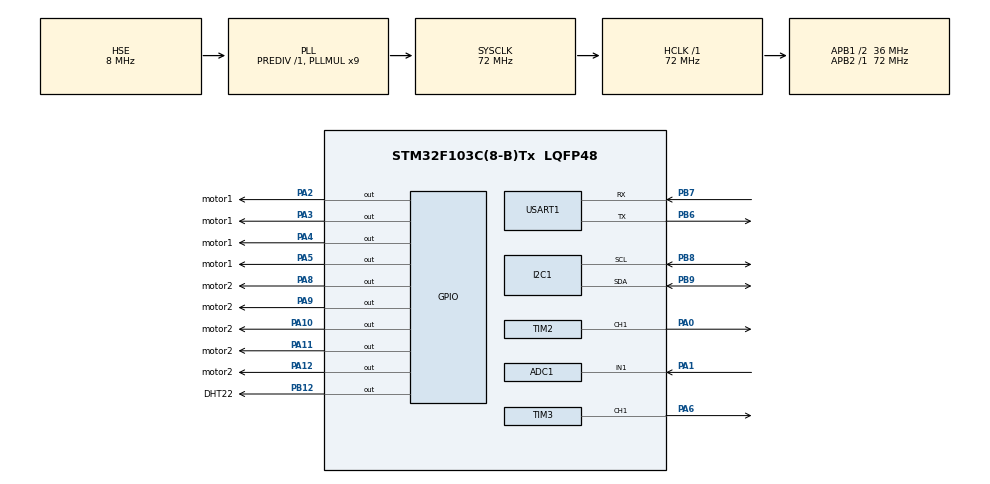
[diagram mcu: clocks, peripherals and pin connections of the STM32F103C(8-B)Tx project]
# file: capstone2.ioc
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ADC1.Channel-0\#ChannelRegularConversion=ADC_CHANNEL_1
ADC1.ContinuousConvMode=ENABLE
ADC1.EnableAnalogWatchDog=false
ADC1.NbrOfConversion=1
ADC1.NbrOfConversionFlag=1
ADC1.Rank-0\#ChannelRegularConversion=1
ADC1.SamplingTime-0\#ChannelRegularConversion=ADC_SAMPLETIME_1CYCLE_5
ADC1.master=1
Dma.ADC1.2.Direction=DMA_PERIPH_TO_MEMORY
Dma.ADC1.2.Instance=DMA1_Channel1
Dma.ADC1.2.MemDataAlignment=DMA_MDATAALIGN_HALFWORD
Dma.ADC1.2.MemInc=DMA_MINC_ENABLE
Dma.ADC1.2.Mode=DMA_CIRCULAR
Dma.ADC1.2.PeriphDataAlignment=DMA_PDATAALIGN_HALFWORD
Dma.ADC1.2.PeriphInc=DMA_PINC_DISABLE
Dma.ADC1.2.Priority=DMA_PRIORITY_LOW
Dma.Request0=USART1_RX
Dma.Request1=USART1_TX
Dma.Request2=ADC1
Dma.USART1_RX.0.Direction=DMA_PERIPH_TO_MEMORY
Dma.USART1_RX.0.Instance=DMA1_Channel5
Dma.USART1_RX.0.MemDataAlignment=DMA_MDATAALIGN_BYTE
Dma.USART1_RX.0.MemInc=DMA_MINC_ENABLE
Dma.USART1_RX.0.Mode=DMA_CIRCULAR
Dma.USART1_RX.0.PeriphDataAlignment=DMA_PDATAALIGN_BYTE
Dma.USART1_RX.0.PeriphInc=DMA_PINC_DISABLE
Dma.USART1_RX.0.Priority=DMA_PRIORITY_LOW
Dma.USART1_TX.1.Direction=DMA_MEMORY_TO_PERIPH
Dma.USART1_TX.1.Instance=DMA1_Channel4
Dma.USART1_TX.1.MemDataAlignment=DMA_MDATAALIGN_BYTE
Dma.USART1_TX.1.MemInc=DMA_MINC_ENABLE
Dma.USART1_TX.1.Mode=DMA_NORMAL
Dma.USART1_TX.1.PeriphDataAlignment=DMA_PDATAALIGN_BYTE
Dma.USART1_TX.1.PeriphInc=DMA_PINC_DISABLE
Dma.USART1_TX.1.Priority=DMA_PRIORITY_LOW
Mcu.Family=STM32F1
Mcu.Name=STM32F103C(8-B)Tx
Mcu.Package=LQFP48
NVIC.DMA1_Channel1_IRQn=true\:0\:0\:false\:false\:true\:false\:true\:true
NVIC.DMA1_Channel4_IRQn=true\:0\:0\:false\:false\:true\:false\:true\:true
NVIC.DMA1_Channel5_IRQn=true\:0\:0\:false\:false\:true\:false\:true\:true
NVIC.PriorityGroup=NVIC_PRIORITYGROUP_4
NVIC.USART1_IRQn=true\:0\:0\:false\:false\:true\:true\:true\:true
PA0-WKUP.Signal=S_TIM2_CH1_ETR
PA1.Signal=ADCx_IN1
PA10.GPIO_Label=motor2
PA10.GPIO_ModeDefaultOutputPP=GPIO_MODE_OUTPUT_PP
PA10.PinState=GPIO_PIN_SET
PA10.Signal=GPIO_Output
PA11.GPIO_Label=motor2
PA11.GPIO_ModeDefaultOutputPP=GPIO_MODE_OUTPUT_PP
PA11.PinState=GPIO_PIN_SET
PA11.Signal=GPIO_Output
PA12.GPIO_Label=motor2
PA12.GPIO_ModeDefaultOutputPP=GPIO_MODE_OUTPUT_PP
PA12.PinState=GPIO_PIN_SET
PA12.Signal=GPIO_Output
PA13.Mode=Serial_Wire
PA13.Signal=SYS_JTMS-SWDIO
PA14.Mode=Serial_Wire
PA14.Signal=SYS_JTCK-SWCLK
PA2.GPIO_Label=motor1
PA2.GPIO_ModeDefaultOutputPP=GPIO_MODE_OUTPUT_PP
PA2.PinState=GPIO_PIN_SET
PA2.Signal=GPIO_Output
PA3.GPIO_Label=motor1
PA3.GPIO_ModeDefaultOutputPP=GPIO_MODE_OUTPUT_PP
PA3.PinState=GPIO_PIN_SET
PA3.Signal=GPIO_Output
PA4.GPIO_Label=motor1
PA4.GPIO_ModeDefaultOutputPP=GPIO_MODE_OUTPUT_PP
PA4.PinState=GPIO_PIN_SET
PA4.Signal=GPIO_Output
PA5.GPIO_Label=motor1
PA5.GPIO_ModeDefaultOutputPP=GPIO_MODE_OUTPUT_PP
PA5.PinState=GPIO_PIN_SET
PA5.Signal=GPIO_Output
PA6.Signal=S_TIM3_CH1
PA8.GPIO_Label=motor2
PA8.GPIO_ModeDefaultOutputPP=GPIO_MODE_OUTPUT_PP
PA8.PinState=GPIO_PIN_SET
PA8.Signal=GPIO_Output
PA9.GPIO_Label=motor2
PA9.GPIO_ModeDefaultOutputPP=GPIO_MODE_OUTPUT_PP
PA9.PinState=GPIO_PIN_SET
PA9.Signal=GPIO_Output
PB12.GPIO_Label=DHT22
PB12.GPIO_ModeDefaultOutputPP=GPIO_MODE_OUTPUT_OD
PB12.GPIO_PuPd=GPIO_NOPULL
PB12.PinState=GPIO_PIN_SET
PB12.Signal=GPIO_Output
PB6.Mode=Asynchronous
PB6.Signal=USART1_TX
PB7.Mode=Asynchronous
PB7.Signal=USART1_RX
PB8.Mode=I2C
PB8.Signal=I2C1_SCL
PB9.Mode=I2C
PB9.Signal=I2C1_SDA
PD0-OSC_IN.Mode=HSE-External-Oscillator
PD0-OSC_IN.Signal=RCC_OSC_IN
PD1-OSC_OUT.Mode=HSE-External-Oscillator
PD1-OSC_OUT.Signal=RCC_OSC_OUT
ProjectManager.HeapSize=0x200
ProjectManager.StackSize=0x400
ProjectManager.TargetToolchain=CMake
RCC.ADCPresc=RCC_ADCPCLK2_DIV6
RCC.AHBFreq_Value=72000000
RCC.APB1CLKDivider=RCC_HCLK_DIV2
RCC.APB1Freq_Value=36000000
RCC.APB1TimFreq_Value=72000000
RCC.APB2Freq_Value=72000000
RCC.APB2TimFreq_Value=72000000
RCC.HCLKFreq_Value=72000000
RCC.PLLMUL=RCC_PLL_MUL9
RCC.PLLSourceVirtual=RCC_PLLSOURCE_HSE
RCC.SYSCLKFreq_VALUE=72000000
RCC.SYSCLKSource=RCC_SYSCLKSOURCE_PLLCLK
RCC.USBFreq_Value=72000000
SH.ADCx_IN1.0=ADC1_IN1,IN1
SH.S_TIM2_CH1_ETR.0=TIM2_CH1,PWM Generation1 CH1
SH.S_TIM3_CH1.0=TIM3_CH1,PWM Generation1 CH1
TIM2.Channel-PWM\ Generation1\ CH1=TIM_CHANNEL_1
TIM2.Period=1001-1
TIM2.Prescaler=73-1
TIM2.Pulse-PWM\ Generation1\ CH1=500
TIM3.Channel-PWM\ Generation1\ CH1=TIM_CHANNEL_1
TIM3.Period=19999
TIM3.Prescaler=71
TIM3.Pulse-PWM\ Generation1\ CH1=1500
USART1.VirtualMode=VM_ASYNC
board=custom

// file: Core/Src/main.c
/* USER CODE BEGIN Header */
/**
 ******************************************************************************
 * @file           : main.c
 * @brief          : Main program body
 ******************************************************************************
 * @attention
 *
 * Copyright (c) 2025 STMicroelectronics.
 * All rights reserved.
 *
 * This software is licensed under terms that can be found in the LICENSE file
 * in the root directory of this software component.
 * If no LICENSE file comes with this software, it is provided AS-IS.
 *
 ******************************************************************************
 */
/* USER CODE END Header */
#include "main.h"

/* USER CODE BEGIN Includes */
#include "servo_sg90.h"
#include "motor_a4988.h"
#include "gy_30.h"
#include "MQ135.h"
#include "dht.h"
#include "HC05.h"
#include "fan.h"
#include "air_quality_control.h"
#include "temp_humidity_control.h"
#include "light_control.h"
#include "control_priority.h"
#include "manual_control.h"
#include <stdio.h>
/* USER CODE END Includes */

ADC_HandleTypeDef hadc1;
DMA_HandleTypeDef hdma_adc1;

I2C_HandleTypeDef hi2c1;

TIM_HandleTypeDef htim2;
TIM_HandleTypeDef htim3;

UART_HandleTypeDef huart1;
DMA_HandleTypeDef hdma_usart1_rx;
DMA_HandleTypeDef hdma_usart1_tx;

/* USER CODE BEGIN PV */

BH1750_HandleTypeDef hbh1750;                     // BH1750 传感器句柄
LightSensor_HandleTypeDef hlsensor;               // 光照传感器模块句柄
Servo_SG90_HandleTypeDef servo_window;            // 舵机 - 窗户（SG90，角度控制）
Motor_A4988_HandleTypeDef motor2;                 // 电机2 - 窗帘（A4988，位置模式）
Fan_HandleTypeDef hfan;                           // 风扇句柄
Air_Quality_Control_HandleTypeDef hAirCtrl;       // 空气质量控制句柄
Temp_Humidity_Control_HandleTypeDef hTempHumCtrl; // 温湿度控制句柄
Light_Control_HandleTypeDef hLightCtrl;           // 光照控制句柄
Manual_Control_HandleTypeDef hManualCtrl;         // 手动控制句柄

float g_light_lux = 0.0f; // 全局光照值 (lx)，用于监视传感器

/* USER CODE END PV */

void SystemClock_Config(void);
static void MX_GPIO_Init(void);
static void MX_DMA_Init(void);
static void MX_ADC1_Init(void);
static void MX_I2C1_Init(void);
static void MX_TIM2_Init(void);
static void MX_USART1_UART_Init(void);
static void MX_TIM3_Init(void);

/* USER CODE BEGIN 0 */
float temp = 0;
float hum = 0;
uint32_t last_send_time = 0;
/* USER CODE END 0 */

int main(void)
{

  /* MCU Configuration--------------------------------------------------------*/

  /* Reset of all peripherals, Initializes the Flash interface and the Systick. */
  HAL_Init();

  /* Configure the system clock */
  SystemClock_Config();

  /* Initialize all configured peripherals */
  MX_GPIO_Init();
  MX_DMA_Init();
  MX_ADC1_Init();
  MX_I2C1_Init();
  MX_TIM2_Init();
  MX_USART1_UART_Init();
  MX_TIM3_Init();
  /* USER CODE BEGIN 2 */
  // 初始化 BH1750 光强度传感器
  if (BH1750_Init(&hbh1750, &hi2c1, BH1750_ADDR_LOW) != HAL_OK)
  {
    // BH1750 初始化失败处理
  }

  // 初始化光照传感器模块
  LightSensor_Init(&hlsensor, &hbh1750);

  // 初始化窗户舵机 (Servo SG90, PA6, TIM3_CH1)
  Servo_SG90_Init(&servo_window, &htim3, TIM_CHANNEL_1);

  // 初始化电机2 (Motor2: A4988, PA8, PA9, PA10, PA11, PA12) - 窗帘控制（位置模式）
  Motor_A4988_Init(&motor2,
                   GPIOA,
                   motor2_Pin,                                      // PA8  - STEP
                   motor2A9_Pin,                                    // PA9  - DIR
                   motor2A10_Pin,                                   // PA10 - MS1
                   motor2A11_Pin,                                   // PA11 - MS2
                   motor2A12_Pin);                                  // PA12 - MS3
  Motor_A4988_SetMode(&motor2, MOTOR_A4988_MODE_POSITION);          // 位置模式
  Motor_A4988_SetMaxPosition(&motor2, MOTOR_A4988_STEPS_FULL * 15); // 最大10圈（全程）

  HAL_NVIC_DisableIRQ(DMA1_Channel1_IRQn);
  MQ135_init(&hadc1);
  HC05_Init(&huart1);

  // 发送测试消息验证蓝牙通信
  HAL_Delay(1000); // 等待1秒让HC-05稳定
  HC05_SendString("HC05 Init OK\r\n");

  // 初始化窗帘位置为0
  Motor_A4988_ResetPosition(&motor2);
  HC05_SendString("Curtain initialized at position 0\r\n");

  // 初始化风扇 (PA0, TIM2_CH1)
  Fan_Init(&hfan, GPIOA, GPIO_PIN_0, &htim2, TIM_CHANNEL_1);

  // 初始化空气质量控制模块（窗户舵机+窗帘+风扇）
  // 注意：需要更新空气质量控制模块以支持SG90舵机
  AirQualityControl_Init(&hAirCtrl, &servo_window, &motor2, &hfan);

  // 初始化温湿度控制模块
  // 注意：需要更新温湿度控制模块以支持SG90舵机和A4988窗帘电机
  TempHumidityControl_Init(&hTempHumCtrl, DHT22_GPIO_Port, DHT22_Pin, &servo_window, &motor2);

  // 初始化光照控制模块
  // 注意：需要更新光照控制模块以支持SG90舵机
  LightControl_Init(&hLightCtrl, &hlsensor, &servo_window, &motor2);

  // 初始化手动控制模块（上位机控制）
  ManualControl_Init(&hManualCtrl, &servo_window, &motor2, 0); // 禁用超时自动退出

  // 等待传感器稳定（特别是 ADC/MQ135）
  HAL_Delay(2000); // 延迟2秒等待 ADC 稳定
  /* USER CODE END 2 */

  /* Infinite loop */
  /* USER CODE BEGIN WHILE */
  while (1)
  {
    // 1. 手动控制处理（最高优先级）- 接收和解析上位机指令
    ManualControl_Process(&hManualCtrl);
    Control_Priority manual_priority = ManualControl_GetPriority(&hManualCtrl);

    // 2. 读取DHT22温湿度
    DHT22_update(DHT22_GPIO_Port, DHT22_Pin);
    temp = get_temperature();
    hum = get_humidity();

    // 3. 自动控制逻辑（总是执行，但会被手动模式抑制）
    // 3.1 空气质量自动控制（传入manual_priority让其检测是否被抑制）
    AirQualityControl_Process(&hAirCtrl, manual_priority);
    Control_Priority air_priority = AirQualityControl_GetPriority(&hAirCtrl);

    // 3.2 温湿度自动控制（传入air_priority或manual_priority中较高者）
    Control_Priority higher_priority_for_temp = (manual_priority > air_priority) ? manual_priority : air_priority;
    TempHumidityControl_Process(&hTempHumCtrl, higher_priority_for_temp);
    Control_Priority temp_hum_priority = TempHumidityControl_GetPriority(&hTempHumCtrl);

    // 3.3 光照传感器处理（设置标志位）
    LightSensor_Process(&hlsensor);
    g_light_lux = LightSensor_GetLux(&hlsensor);

    // 3.4 光照控制（传入最高优先级）
    Control_Priority highest_priority = manual_priority;
    if (air_priority > highest_priority)
      highest_priority = air_priority;
    if (temp_hum_priority > highest_priority)
      highest_priority = temp_hum_priority;
    LightControl_Process(&hLightCtrl, highest_priority);

    // 4. 执行电机/舵机处理（无论手动还是自动模式都需要）
    Servo_SG90_Process(&servo_window); // 窗户舵机（SG90，PWM控制）
    Motor_A4988_Process(&motor2);      // 窗帘电机（A4988，位置模式）

    /* USER CODE END WHILE */

    /* USER CODE BEGIN 3 */
    // 每2秒发送一次传感器数据
    if (HAL_GetTick() - last_send_time >= 2000)
    {
      char buffer[64];
      // 将浮点数转换为整数来测试（温度*10，湿度*10）
      int temp_int = (int)(temp * 10);
      int hum_int = (int)(hum * 10);
      sprintf(buffer, "T:%d.%d,H:%d.%d,L:%d,A:%d\r\n",
              temp_int / 10, temp_int % 10,
              hum_int / 10, hum_int % 10,
              (int)g_light_lux, get_MQ135_raw());
      HC05_SendString(buffer);
      last_send_time = HAL_GetTick();
    }
  }
  /* USER CODE END 3 */
}

void SystemClock_Config(void)
{
  RCC_OscInitTypeDef RCC_OscInitStruct = {0};
  RCC_ClkInitTypeDef RCC_ClkInitStruct = {0};
  RCC_PeriphCLKInitTypeDef PeriphClkInit = {0};

  /** Initializes the RCC Oscillators according to the specified parameters
   * in the RCC_OscInitTypeDef structure.
   */
  RCC_OscInitStruct.OscillatorType = RCC_OSCILLATORTYPE_HSE;
  RCC_OscInitStruct.HSEState = RCC_HSE_ON;
  RCC_OscInitStruct.HSEPredivValue = RCC_HSE_PREDIV_DIV1;
  RCC_OscInitStruct.HSIState = RCC_HSI_ON;
  RCC_OscInitStruct.PLL.PLLState = RCC_PLL_ON;
  RCC_OscInitStruct.PLL.PLLSource = RCC_PLLSOURCE_HSE;
  RCC_OscInitStruct.PLL.PLLMUL = RCC_PLL_MUL9;
  if (HAL_RCC_OscConfig(&RCC_OscInitStruct) != HAL_OK)
  {
    Error_Handler();
  }

  /** Initializes the CPU, AHB and APB buses clocks
   */
  RCC_ClkInitStruct.ClockType = RCC_CLOCKTYPE_HCLK | RCC_CLOCKTYPE_SYSCLK | RCC_CLOCKTYPE_PCLK1 | RCC_CLOCKTYPE_PCLK2;
  RCC_ClkInitStruct.SYSCLKSource = RCC_SYSCLKSOURCE_PLLCLK;
  RCC_ClkInitStruct.AHBCLKDivider = RCC_SYSCLK_DIV1;
  RCC_ClkInitStruct.APB1CLKDivider = RCC_HCLK_DIV2;
  RCC_ClkInitStruct.APB2CLKDivider = RCC_HCLK_DIV1;

  if (HAL_RCC_ClockConfig(&RCC_ClkInitStruct, FLASH_LATENCY_2) != HAL_OK)
  {
    Error_Handler();
  }
  PeriphClkInit.PeriphClockSelection = RCC_PERIPHCLK_ADC;
  PeriphClkInit.AdcClockSelection = RCC_ADCPCLK2_DIV6;
  if (HAL_RCCEx_PeriphCLKConfig(&PeriphClkInit) != HAL_OK)
  {
    Error_Handler();
  }
}

static void MX_ADC1_Init(void)
{

  ADC_ChannelConfTypeDef sConfig = {0};

  /** Common config
   */
  hadc1.Instance = ADC1;
  hadc1.Init.ScanConvMode = ADC_SCAN_DISABLE;
  hadc1.Init.ContinuousConvMode = ENABLE;
  hadc1.Init.DiscontinuousConvMode = DISABLE;
  hadc1.Init.ExternalTrigConv = ADC_SOFTWARE_START;
  hadc1.Init.DataAlign = ADC_DATAALIGN_RIGHT;
  hadc1.Init.NbrOfConversion = 1;
  if (HAL_ADC_Init(&hadc1) != HAL_OK)
  {
    Error_Handler();
  }

  /** Configure Regular Channel
   */
  sConfig.Channel = ADC_CHANNEL_1;
  sConfig.Rank = ADC_REGULAR_RANK_1;
  sConfig.SamplingTime = ADC_SAMPLETIME_1CYCLE_5;
  if (HAL_ADC_ConfigChannel(&hadc1, &sConfig) != HAL_OK)
  {
    Error_Handler();
  }
}

static void MX_I2C1_Init(void)
{

  hi2c1.Instance = I2C1;
  hi2c1.Init.ClockSpeed = 100000;
  hi2c1.Init.DutyCycle = I2C_DUTYCYCLE_2;
  hi2c1.Init.OwnAddress1 = 0;
  hi2c1.Init.AddressingMode = I2C_ADDRESSINGMODE_7BIT;
  hi2c1.Init.DualAddressMode = I2C_DUALADDRESS_DISABLE;
  hi2c1.Init.OwnAddress2 = 0;
  hi2c1.Init.GeneralCallMode = I2C_GENERALCALL_DISABLE;
  hi2c1.Init.NoStretchMode = I2C_NOSTRETCH_DISABLE;
  if (HAL_I2C_Init(&hi2c1) != HAL_OK)
  {
    Error_Handler();
  }
}

static void MX_TIM2_Init(void)
{

  TIM_MasterConfigTypeDef sMasterConfig = {0};
  TIM_OC_InitTypeDef sConfigOC = {0};

  htim2.Instance = TIM2;
  htim2.Init.Prescaler = 73 - 1;
  htim2.Init.CounterMode = TIM_COUNTERMODE_UP;
  htim2.Init.Period = 1001 - 1;
  htim2.Init.ClockDivision = TIM_CLOCKDIVISION_DIV1;
  htim2.Init.AutoReloadPreload = TIM_AUTORELOAD_PRELOAD_DISABLE;
  if (HAL_TIM_PWM_Init(&htim2) != HAL_OK)
  {
    Error_Handler();
  }
  sMasterConfig.MasterOutputTrigger = TIM_TRGO_RESET;
  sMasterConfig.MasterSlaveMode = TIM_MASTERSLAVEMODE_DISABLE;
  if (HAL_TIMEx_MasterConfigSynchronization(&htim2, &sMasterConfig) != HAL_OK)
  {
    Error_Handler();
  }
  sConfigOC.OCMode = TIM_OCMODE_PWM1;
  sConfigOC.Pulse = 500;
  sConfigOC.OCPolarity = TIM_OCPOLARITY_HIGH;
  sConfigOC.OCFastMode = TIM_OCFAST_DISABLE;
  if (HAL_TIM_PWM_ConfigChannel(&htim2, &sConfigOC, TIM_CHANNEL_1) != HAL_OK)
  {
    Error_Handler();
  }
  HAL_TIM_MspPostInit(&htim2);
}

static void MX_TIM3_Init(void)
{

  TIM_MasterConfigTypeDef sMasterConfig = {0};
  TIM_OC_InitTypeDef sConfigOC = {0};

  htim3.Instance = TIM3;
  htim3.Init.Prescaler = 71;
  htim3.Init.CounterMode = TIM_COUNTERMODE_UP;
  htim3.Init.Period = 19999;
  htim3.Init.ClockDivision = TIM_CLOCKDIVISION_DIV1;
  htim3.Init.AutoReloadPreload = TIM_AUTORELOAD_PRELOAD_DISABLE;
  if (HAL_TIM_PWM_Init(&htim3) != HAL_OK)
  {
    Error_Handler();
  }
  sMasterConfig.MasterOutputTrigger = TIM_TRGO_RESET;
  sMasterConfig.MasterSlaveMode = TIM_MASTERSLAVEMODE_DISABLE;
  if (HAL_TIMEx_MasterConfigSynchronization(&htim3, &sMasterConfig) != HAL_OK)
  {
    Error_Handler();
  }
  sConfigOC.OCMode = TIM_OCMODE_PWM1;
  sConfigOC.Pulse = 1500;
  sConfigOC.OCPolarity = TIM_OCPOLARITY_HIGH;
  sConfigOC.OCFastMode = TIM_OCFAST_DISABLE;
  if (HAL_TIM_PWM_ConfigChannel(&htim3, &sConfigOC, TIM_CHANNEL_1) != HAL_OK)
  {
    Error_Handler();
  }
  HAL_TIM_MspPostInit(&htim3);
}

static void MX_USART1_UART_Init(void)
{

  huart1.Instance = USART1;
  huart1.Init.BaudRate = 9600;
  huart1.Init.WordLength = UART_WORDLENGTH_8B;
  huart1.Init.StopBits = UART_STOPBITS_1;
  huart1.Init.Parity = UART_PARITY_NONE;
  huart1.Init.Mode = UART_MODE_TX_RX;
  huart1.Init.HwFlowCtl = UART_HWCONTROL_NONE;
  huart1.Init.OverSampling = UART_OVERSAMPLING_16;
  if (HAL_UART_Init(&huart1) != HAL_OK)
  {
    Error_Handler();
  }
}

static void MX_DMA_Init(void)
{

  /* DMA controller clock enable */
  __HAL_RCC_DMA1_CLK_ENABLE();

  /* DMA interrupt init */
  /* DMA1_Channel1_IRQn interrupt configuration */
  HAL_NVIC_SetPriority(DMA1_Channel1_IRQn, 0, 0);
  HAL_NVIC_EnableIRQ(DMA1_Channel1_IRQn);
  /* DMA1_Channel4_IRQn interrupt configuration */
  HAL_NVIC_SetPriority(DMA1_Channel4_IRQn, 0, 0);
  HAL_NVIC_EnableIRQ(DMA1_Channel4_IRQn);
  /* DMA1_Channel5_IRQn interrupt configuration */
  HAL_NVIC_SetPriority(DMA1_Channel5_IRQn, 0, 0);
  HAL_NVIC_EnableIRQ(DMA1_Channel5_IRQn);
}

static void MX_GPIO_Init(void)
{
  GPIO_InitTypeDef GPIO_InitStruct = {0};

  /* GPIO Ports Clock Enable */
  __HAL_RCC_GPIOD_CLK_ENABLE();
  __HAL_RCC_GPIOA_CLK_ENABLE();
  __HAL_RCC_GPIOB_CLK_ENABLE();

  /*Configure GPIO pin Output Level */
  HAL_GPIO_WritePin(GPIOA, motor1_Pin | motor1A3_Pin | motor1A4_Pin | motor1A5_Pin | motor2_Pin | motor2A9_Pin | motor2A10_Pin | motor2A11_Pin | motor2A12_Pin, GPIO_PIN_SET);

  /*Configure GPIO pin Output Level */
  HAL_GPIO_WritePin(DHT22_GPIO_Port, DHT22_Pin, GPIO_PIN_SET);

  /*Configure GPIO pins : motor1_Pin motor1A3_Pin motor1A4_Pin motor1A5_Pin
                           motor2_Pin motor2A9_Pin motor2A10_Pin motor2A11_Pin
                           motor2A12_Pin */
  GPIO_InitStruct.Pin = motor1_Pin | motor1A3_Pin | motor1A4_Pin | motor1A5_Pin | motor2_Pin | motor2A9_Pin | motor2A10_Pin | motor2A11_Pin | motor2A12_Pin;
  GPIO_InitStruct.Mode = GPIO_MODE_OUTPUT_PP;
  GPIO_InitStruct.Pull = GPIO_NOPULL;
  GPIO_InitStruct.Speed = GPIO_SPEED_FREQ_LOW;
  HAL_GPIO_Init(GPIOA, &GPIO_InitStruct);

  /*Configure GPIO pin : DHT22_Pin */
  GPIO_InitStruct.Pin = DHT22_Pin;
  GPIO_InitStruct.Mode = GPIO_MODE_OUTPUT_OD;
  GPIO_InitStruct.Pull = GPIO_NOPULL;
  GPIO_InitStruct.Speed = GPIO_SPEED_FREQ_LOW;
  HAL_GPIO_Init(DHT22_GPIO_Port, &GPIO_InitStruct);

}

void Error_Handler(void)
{
  __disable_irq();
  while (1)
  {
  }
}
